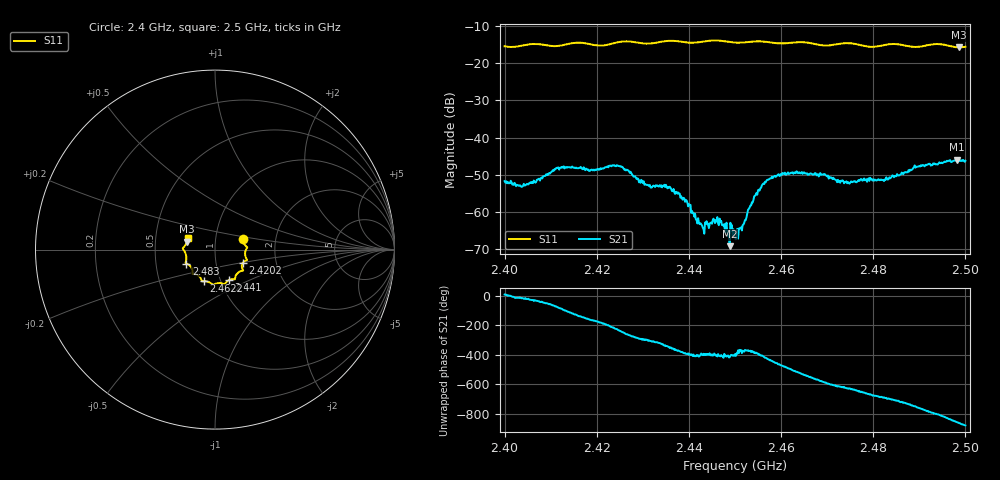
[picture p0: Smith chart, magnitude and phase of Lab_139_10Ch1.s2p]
# Hz S RI R 50
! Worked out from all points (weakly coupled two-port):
!   601 points, 2.4 GHz to 2.5 GHz, reference 50 ohm
!   highest |S21| = -45.92 dB at 2.4982 GHz (marker M1); lowest = -69.1 dB at 2.4488 GHz (marker M2)
!   lowest |S11| = -15.8 dB at 2.4987 GHz (marker M3), VSWR 1.39, Z = 36.4 + j3.28 ohm
!   |S11| at or under -10 dB: start of sweep to end of sweep
!   S12 and S22 are empty: the file has one direction only
!   S11 on the Smith chart (normalised r, x): 2.4 GHz: 1.36, +0.17; 2.4202 GHz: 1.35, -0.20; 2.441 GHz: 1.09, -0.39; 2.4622 GHz: 0.83, -0.30; 2.483 GHz: 0.72, -0.12; 2.5 GHz: 0.73, +0.09
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2.4e9  0.1564 0.06  0.00258 0.000425  0 0  0 0
2.404e9  0.1713 0.0198  0.00216 -0.000646  0 0  0 0
2.411167e9  0.1674 -0.0208  0.00125 -0.00369  0 0  0 0
2.416667e9  0.1776 -0.0584  -0.0031 -0.00242  0 0  0 0
2.420167e9  0.1561 -0.072  -0.00379 -0.000325  0 0  0 0
2.424833e9  0.1552 -0.1121  -0.00236 0.00342  0 0  0 0
2.433333e9  0.1129 -0.1523  0.00169 0.00143  0 0  0 0
2.437667e9  0.1054 -0.165  0.0018 -0.000351  0 0  0 0
2.441e9  0.0768 -0.1706  0.00075 -0.000612  0 0  0 0
2.442833e9  0.0625 -0.1824  0.000512 -0.000424  0 0  0 0
2.445667e9  0.0526 -0.1938  0.00056 -0.000444  0 0  0 0
2.448833e9  0.0374 -0.1879  0.000191 -0.000294  0 0  0 0
2.45e9  0.0267 -0.1862  0.000369 -0.000271  0 0  0 0
2.456333e9  -0.0151 -0.1933  0.00135 -0.00196  0 0  0 0
2.462167e9  -0.0633 -0.1763  -0.00258 -0.00219  0 0  0 0
2.466667e9  -0.0766 -0.1669  -0.00313 0.000872  0 0  0 0
2.4745e9  -0.1255 -0.1357  -7.05e-05 0.00254  0 0  0 0
2.483e9  -0.159 -0.0781  0.00262 0.000951  0 0  0 0
2.483333e9  -0.1607 -0.0774  0.00258 0.00104  0 0  0 0
2.498167e9  -0.1581 0.0373  -0.00377 -0.00338  0 0  0 0
2.498667e9  -0.1558 0.0439  -0.004 -0.00274  0 0  0 0
2.5e9  -0.153 0.0626  -0.00461 -0.00159  0 0  0 0
